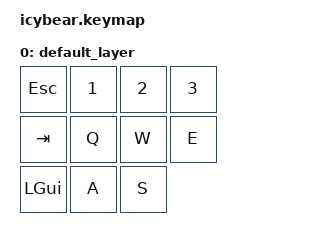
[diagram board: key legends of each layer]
#include <behaviors.dtsi>
#include <dt-bindings/zmk/keys.h>
#include <dt-bindings/zmk/outputs.h>
#include <dt-bindings/zmk/rgb.h>
#include <dt-bindings/zmk/ext_power.h>

#define DEFAULT 0
#define LOWER   1
#define RAISE   2
#define GAME 3

/{


	macros {
        mac_screenshot: mac_screenshot {
            label = "macOS_screenshot";
            compatible = "zmk,behavior-macro";
            #binding-cells = <0>;
            bindings = <&macro_press &kp LEFT_COMMAND &kp LEFT_SHIFT>
            , <&macro_tap &kp 4>;
        };
    };
behaviors {
        bhm: balanced_homerow_mods {
            compatible = "zmk,behavior-hold-tap";
            label = "HOMEROW_MODS";
            #binding-cells = <2>;
            tapping-term-ms = <135>;    // <---[[moderate duration]]
            quick-tap-ms = <0>;
            flavor = "balanced";
            bindings = <&mo>, <&kp>;
        };
    };
    keymap {

        compatible = "zmk,keymap";

        default_layer {
 //   |  ESC  |  1  |  2  |  3  |  4  |  5  |  6  |  7  |  8  |  9  |  0  |  -  |  +  |  backspace  |
 //   |  tab  |  q  |  w  |  e  |  r  |  t  |  y  |  u  |  i  |  o  |  p  |  [  |  ]  |  \  |
 //   |  caps  |  a  |  s  |  d  |  f  |  g  |  h  |  j  |  k  |  l  |  ;  |  '  |  enter  |  encoder_button  |
 //   |  shift  |  z  |  x  |  c  |  v  |  b  |  n  |  m  |  ,  |  .  |  /  |  shift  |  up  |  extra  |
 //   |  ctrl  |  win  |  alt    |  space    |  alt  |  win  |  menu  |  left  |  down  |  right  |


            bindings = <
&kp ESC  &kp N1  &kp N2 &kp N3
&kp TAB  &kp Q  &kp W  &kp E 
&kp LGUI  &kp A  &kp S  
            >;

        };

    };
};

